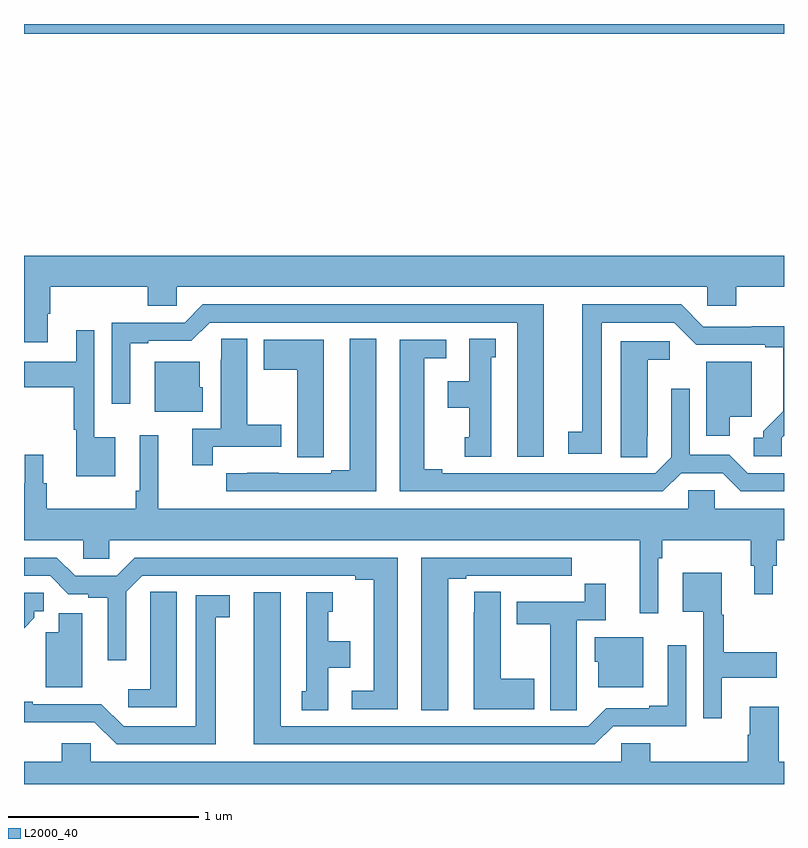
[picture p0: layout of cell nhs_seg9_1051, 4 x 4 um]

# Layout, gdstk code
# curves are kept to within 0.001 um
import gdstk
lib = gdstk.Library(unit=1e-6, precision=1e-09)
def R(c, l, rs):  # rectangles x0, y0, x1, y1
    for r in rs: c.add(gdstk.rectangle(r[:2], r[2:], *l))
def P(c, l, *ps):  # polygons
    for p in ps: c.add(gdstk.Polygon(p, *l))
L2000_40 = (2000, 40)

nhs_seg9_1051 = lib.new_cell('nhs_seg9_1051')
R(nhs_seg9_1051, L2000_40, [(169,1168.448,173,1168.5)])
P(nhs_seg9_1051, L2000_40, [(169.126,1166.974),(169.139,1166.974),(169.139,1167.116),(169.652,1167.116),(169.652,1167.018),(169.803,1167.018),(169.803,1167.116),(172.596,1167.116),(172.596,1167.018),(172.748,1167.018),(172.748,1167.116),(173,1167.116),(173,1167.28),(169,1167.28),(169,1166.826),(169.126,1166.826)],
  [(172.989,1166.322),(173,1166.333),(173,1166.909),(172.831,1166.909),(172.831,1166.907),(172.575,1166.907),(172.458,1167.024),(171.938,1167.024),(171.938,1166.354),(171.864,1166.354),(171.864,1166.238),(172.042,1166.238),(172.042,1166.928),(172.422,1166.928),(172.539,1166.811),(172.901,1166.811),(172.901,1166.799),(172.997,1166.799),(172.997,1166.462),(172.892,1166.357),(172.892,1166.322),(172.842,1166.322),(172.842,1166.226),(172.989,1166.226)],
  [(171.736,1167.024),(169.941,1167.024),(169.845,1166.928),(169.461,1166.928),(169.461,1166.502),(169.558,1166.502),(169.558,1166.82),(169.654,1166.82),(169.654,1166.832),(169.881,1166.832),(169.977,1166.928),(171.596,1166.928),(171.596,1166.223),(171.736,1166.223)],
  [(169.48,1166.326),(169.371,1166.326),(169.371,1166.887),(169.274,1166.887),(169.274,1166.722),(169,1166.722),(169,1166.588),(169.263,1166.588),(169.263,1166.364),(169.274,1166.364),(169.274,1166.12),(169.48,1166.12)],
  [(169.994,1166.274),(170.353,1166.274),(170.353,1166.391),(170.176,1166.391),(170.176,1166.843),(170.037,1166.843),(170.037,1166.732),(170.036,1166.732),(170.036,1166.37),(169.886,1166.37),(169.886,1166.178),(169.994,1166.178)],
  [(171.46,1166.745),(171.484,1166.745),(171.484,1166.843),(171.344,1166.843),(171.344,1166.62),(171.23,1166.62),(171.23,1166.48),(171.344,1166.48),(171.344,1166.325),(171.32,1166.325),(171.32,1166.223),(171.46,1166.223)],
  [(170.854,1166.843),(170.714,1166.843),(170.714,1166.151),(170.618,1166.151),(170.618,1166.136),(170.342,1166.136),(170.342,1166.137),(170.176,1166.137),(170.176,1166.136),(170.064,1166.136),(170.064,1166.04),(170.854,1166.04)],
  [(170.577,1166.329),(170.578,1166.329),(170.578,1166.839),(170.261,1166.839),(170.261,1166.68),(170.438,1166.68),(170.438,1166.221),(170.577,1166.221)],
  [(172.459,1166.136),(172.677,1166.136),(172.773,1166.04),(173,1166.04),(173,1166.136),(172.809,1166.136),(172.713,1166.232),(172.503,1166.232),(172.503,1166.581),(172.407,1166.581),(172.407,1166.22),(172.323,1166.136),(171.202,1166.136),(171.202,1166.156),(171.106,1166.156),(171.106,1166.742),(171.223,1166.742),(171.223,1166.838),(170.978,1166.838),(170.978,1166.04),(172.363,1166.04)],
  [(172.281,1166.329),(172.282,1166.329),(172.282,1166.732),(172.399,1166.732),(172.399,1166.829),(172.142,1166.829),(172.142,1166.221),(172.281,1166.221)],
  [(169.942,1166.589),(169.924,1166.589),(169.924,1166.722),(169.688,1166.722),(169.688,1166.459),(169.942,1166.459)],
  [(172.714,1166.432),(172.831,1166.432),(172.831,1166.722),(172.592,1166.722),(172.592,1166.334),(172.714,1166.334)],
  [(172.338,1165.688),(172.358,1165.688),(172.358,1165.784),(172.825,1165.784),(172.825,1165.65),(172.844,1165.65),(172.844,1165.5),(172.942,1165.5),(172.942,1165.65),(172.961,1165.65),(172.961,1165.784),(173,1165.784),(173,1165.948),(172.635,1165.948),(172.635,1166.046),(172.497,1166.046),(172.497,1165.948),(169.706,1165.948),(169.706,1166.335),(169.608,1166.335),(169.608,1166.044),(169.588,1166.044),(169.588,1165.948),(169.121,1165.948),(169.121,1166.082),(169.102,1166.082),(169.102,1166.233),(169.004,1166.233),(169.004,1166.082),(169,1166.082),(169,1165.784),(169.311,1165.784),(169.311,1165.686),(169.449,1165.686),(169.449,1165.784),(172.241,1165.784),(172.241,1165.398),(172.338,1165.398)],
  [(171.232,1165.581),(171.328,1165.581),(171.328,1165.596),(171.604,1165.596),(171.604,1165.595),(171.77,1165.595),(171.77,1165.596),(171.883,1165.596),(171.883,1165.692),(171.092,1165.692),(171.092,1164.889),(171.232,1164.889)],
  [(170.968,1165.692),(169.583,1165.692),(169.487,1165.596),(169.269,1165.596),(169.173,1165.692),(169,1165.692),(169,1165.596),(169.137,1165.596),(169.233,1165.5),(169.338,1165.5),(169.338,1165.48),(169.442,1165.48),(169.442,1165.152),(169.539,1165.152),(169.539,1165.512),(169.623,1165.596),(170.744,1165.596),(170.744,1165.576),(170.84,1165.576),(170.84,1164.99),(170.724,1164.99),(170.724,1164.894),(170.968,1164.894)],
  [(172.672,1165.058),(172.963,1165.058),(172.963,1165.193),(172.684,1165.193),(172.684,1165.392),(172.672,1165.392),(172.672,1165.612),(172.466,1165.612),(172.466,1165.406),(172.575,1165.406),(172.575,1164.846),(172.672,1164.846)],
  [(171.909,1165),(171.91,1165),(171.91,1165.362),(172.061,1165.362),(172.061,1165.555),(171.952,1165.555),(171.952,1165.458),(171.593,1165.458),(171.593,1165.342),(171.77,1165.342),(171.77,1164.889),(171.909,1164.889)],
  [(169.804,1165.511),(169.665,1165.511),(169.665,1165.403),(169.664,1165.403),(169.664,1165),(169.548,1165),(169.548,1164.903),(169.804,1164.903)],
  [(171.685,1165.053),(171.508,1165.053),(171.508,1165.511),(171.369,1165.511),(171.369,1165.403),(171.368,1165.403),(171.368,1164.893),(171.685,1164.893)],
  [(170.602,1165.112),(170.716,1165.112),(170.716,1165.252),(170.602,1165.252),(170.602,1165.407),(170.626,1165.407),(170.626,1165.51),(170.486,1165.51),(170.486,1164.987),(170.462,1164.987),(170.462,1164.889),(170.602,1164.889)],
  [(172.101,1164.804),(172.485,1164.804),(172.485,1165.231),(172.388,1165.231),(172.388,1164.913),(172.292,1164.913),(172.292,1164.9),(172.065,1164.9),(171.969,1164.804),(170.35,1164.804),(170.35,1165.51),(170.21,1165.51),(170.21,1164.708),(172.005,1164.708)],
  [(169.054,1165.375),(169.054,1165.41),(169.104,1165.41),(169.104,1165.506),(169,1165.506),(169,1165.321)],
  [(170.008,1165.378),(170.083,1165.378),(170.083,1165.494),(169.904,1165.494),(169.904,1164.804),(169.524,1164.804),(169.407,1164.921),(169.045,1164.921),(169.045,1164.934),(169,1164.934),(169,1164.824),(169.371,1164.825),(169.488,1164.708),(170.008,1164.708)],
  [(169.306,1165.398),(169.184,1165.398),(169.184,1165.3),(169.115,1165.3),(169.115,1165.01),(169.306,1165.01)],
  [(172.258,1165.273),(172.004,1165.273),(172.004,1165.143),(172.022,1165.143),(172.022,1165.01),(172.258,1165.01)],
  [(173,1164.616),(172.973,1164.616),(172.973,1164.907),(172.82,1164.907),(172.82,1164.758),(172.808,1164.758),(172.808,1164.616),(172.295,1164.616),(172.295,1164.714),(172.143,1164.714),(172.143,1164.616),(169.35,1164.616),(169.35,1164.714),(169.199,1164.714),(169.199,1164.616),(169,1164.616),(169,1164.5),(173,1164.5)])

lib.write_gds('nhs_seg9_1051.gds')
